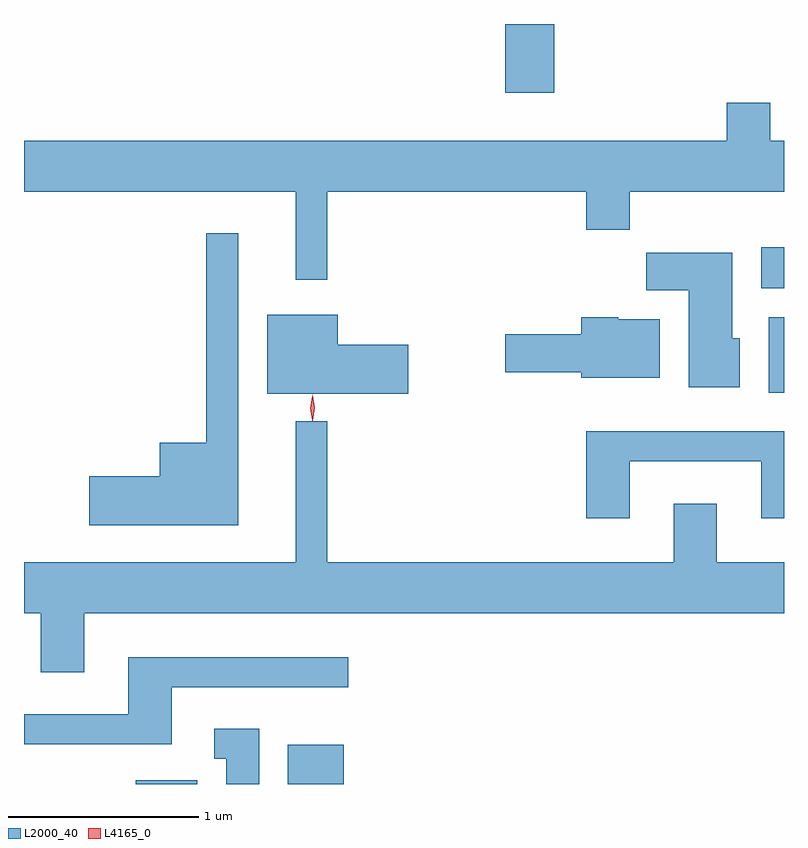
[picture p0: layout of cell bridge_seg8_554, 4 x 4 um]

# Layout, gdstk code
import gdstk
lib = gdstk.Library(unit=1e-6, precision=1e-09)
def R(c, l, rs):  # rectangles x0, y0, x1, y1
    for r in rs: c.add(gdstk.rectangle(r[:2], r[2:], *l))
def P(c, l, *ps):  # polygons
    for p in ps: c.add(gdstk.Polygon(p, *l))
L2000_40 = (2000, 40)
L4165_0 = (4165, 0)

bridge_seg8_554 = lib.new_cell('bridge_seg8_554')
R(bridge_seg8_554, L2000_40, [(465.661,1819.978,465.984,1819.999), (466.461,1819.978,466.754,1820.184), (468.991,1822.036,469.072,1822.434), (468.951,1822.586,469.072,1822.804), (467.606,1823.616,467.864,1823.978)])
P(bridge_seg8_554, L2000_40, [(466.669,1823.096),(468.031,1823.096),(468.031,1822.896),(468.259,1822.896),(468.259,1823.096),(469.072,1823.096),(469.072,1823.364),(468.999,1823.364),(468.999,1823.564),(468.771,1823.564),(468.771,1823.364),(465.072,1823.364),(465.072,1823.096),(466.501,1823.096),(466.501,1822.633),(466.669,1822.633)],
  [(466.199,1822.878),(466.031,1822.878),(466.031,1821.774),(465.786,1821.774),(465.786,1821.599),(465.416,1821.599),(465.416,1821.341),(466.199,1821.341)],
  [(468.839,1822.324),(468.799,1822.324),(468.799,1822.774),(468.346,1822.774),(468.346,1822.576),(468.571,1822.576),(468.571,1822.066),(468.839,1822.066)],
  [(467.094,1822.289),(466.724,1822.289),(466.724,1822.449),(466.351,1822.449),(466.351,1822.031),(467.094,1822.031)],
  [(468.419,1822.424),(468.2,1822.424),(468.2,1822.434),(468.006,1822.434),(468.006,1822.344),(467.606,1822.344),(467.606,1822.146),(468.006,1822.146),(468.006,1822.116),(468.419,1822.116)],
  [(465.389,1820.876),(469.072,1820.876),(469.072,1821.144),(468.719,1821.144),(468.719,1821.454),(468.491,1821.454),(468.491,1821.144),(466.669,1821.144),(466.669,1821.888),(466.501,1821.888),(466.501,1821.144),(465.072,1821.144),(465.072,1820.876),(465.161,1820.876),(465.161,1820.566),(465.389,1820.566)],
  [(468.259,1821.676),(468.951,1821.676),(468.951,1821.376),(469.072,1821.376),(469.072,1821.834),(468.031,1821.834),(468.031,1821.376),(468.259,1821.376)],
  [(465.849,1820.486),(466.778,1820.486),(466.778,1820.644),(465.621,1820.644),(465.621,1820.344),(465.072,1820.344),(465.072,1820.186),(465.849,1820.186)],
  [(466.309,1820.269),(466.073,1820.269),(466.073,1820.111),(466.136,1820.111),(466.136,1819.978),(466.309,1819.978)])
P(bridge_seg8_554, L4165_0, [(466.59,1821.89),(466.582,1821.958),(466.592,1822.025),(466.593,1822.026),(466.593,1822.025),(466.602,1821.958),(466.591,1821.89),(466.591,1821.89)],
  [(466.588,1821.893),(466.588,1821.894),(466.578,1821.956),(466.588,1822.02),(466.588,1822.02),(466.588,1822.02),(466.598,1821.956),(466.588,1821.894)])

lib.write_gds('bridge_seg8_554.gds')
